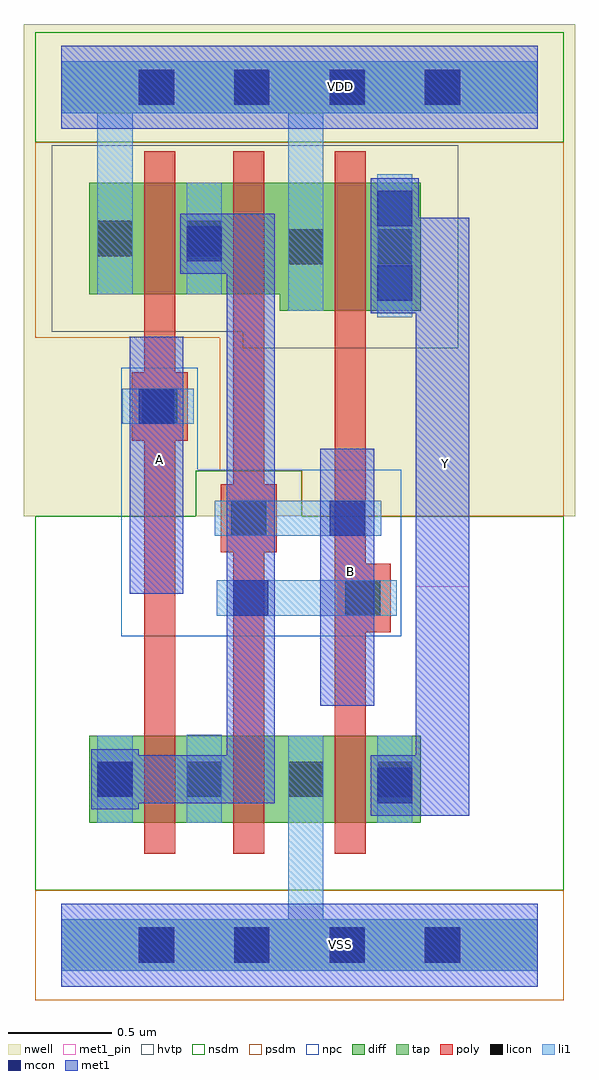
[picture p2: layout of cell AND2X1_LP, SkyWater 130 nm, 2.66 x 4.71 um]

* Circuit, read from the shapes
.subckt AND2X1_LP A B VDD VSS Y
XM1 n1 A n2 VSS sky130_fd_pr__nfet_01v8 w=0.42 l=0.15
XM2 VSS B n1 VSS sky130_fd_pr__nfet_01v8 w=0.42 l=0.15
XM3 Y n2 VSS VSS sky130_fd_pr__nfet_01v8 w=0.42 l=0.15
XM4 n2 A VDD VDD sky130_fd_pr__pfet_01v8_hvt w=0.54 l=0.15
XM5 VDD B n2 VDD sky130_fd_pr__pfet_01v8_hvt w=0.54 l=0.15
XM6 Y n2 VDD VDD sky130_fd_pr__pfet_01v8_hvt w=0.62 l=0.15
.ends

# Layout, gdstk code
from math import pi, radians
import gdstk
lib = gdstk.Library(unit=1e-6, precision=1e-09)
def R(c, l, rs):  # rectangles x0, y0, x1, y1
    for r in rs: c.add(gdstk.rectangle(r[:2], r[2:], *l))
def A(c, l, x, y, w, h, nx, ny, dx, dy):  # array of equal rectangles
    R(c, l, [(x+i*dx, y+j*dy, x+i*dx+w, y+j*dy+h) for i in range(nx) for j in range(ny)])
def P(c, l, *ps):  # polygons
    for p in ps: c.add(gdstk.Polygon(p, *l))
nwell = (64, 20)
diff = (65, 20)
tap = (65, 44)
poly = (66, 20)
licon = (66, 44)
li1 = (67, 20)
mcon = (67, 44)
met1_pin = (68, 16)
met1 = (68, 20)
hvtp = (78, 44)
nsdm = (93, 44)
psdm = (94, 20)
npc = (95, 20)

l1m1_c_cdns_750721840975 = lib.new_cell('L1M1_C_CDNS_750721840975')
R(l1m1_c_cdns_750721840975, li1, [(-0.085,-0.345,0.085,0.345)])
R(l1m1_c_cdns_750721840975, mcon, [(-0.085,-0.265,0.085,-0.095), (-0.085,0.095,0.085,0.265)])
R(l1m1_c_cdns_750721840975, met1, [(-0.115,-0.325,0.115,0.325)])

pyl1con_c_cdns_750721840 = lib.new_cell('PYL1CON_C_CDNS_750721840972')
R(pyl1con_c_cdns_750721840, poly, [(-0.135,-0.165,0.135,0.165)])
R(pyl1con_c_cdns_750721840, licon, [(-0.085,-0.085,0.085,0.085)])
R(pyl1con_c_cdns_750721840, npc, [(-0.185,-0.185,0.185,0.185)])

lilicon_c_cdns_750721840 = lib.new_cell('LILICON_C_CDNS_750721840978')
R(lilicon_c_cdns_750721840, licon, [(-0.085,-0.085,0.085,0.085), (-0.085,-0.085,0.085,0.085)])
R(lilicon_c_cdns_750721840, li1, [(-0.085,-0.165,0.085,0.165)])

l1m1_c_cdns_750721840973 = lib.new_cell('L1M1_C_CDNS_750721840973')
R(l1m1_c_cdns_750721840973, li1, [(-0.165,-0.085,0.165,0.085)])
R(l1m1_c_cdns_750721840973, mcon, [(-0.085,-0.085,0.085,0.085)])
R(l1m1_c_cdns_750721840973, met1, [(-0.115,-0.145,0.115,0.145)])

l1m1_c_cdns_750721840971 = lib.new_cell('L1M1_C_CDNS_750721840971')
R(l1m1_c_cdns_750721840971, li1, [(-0.085,-0.165,0.085,0.165)])
R(l1m1_c_cdns_750721840971, mcon, [(-0.085,-0.085,0.085,0.085)])
R(l1m1_c_cdns_750721840971, met1, [(-0.115,-0.145,0.115,0.145)])

licondiff_c_cdns_7507218 = lib.new_cell('LICONDIFF_C_CDNS_750721840974')
R(licondiff_c_cdns_7507218, diff, [(-0.125,-0.145,0.125,0.145)])
R(licondiff_c_cdns_7507218, licon, [(-0.085,-0.085,0.085,0.085), (-0.085,-0.085,0.085,0.085)])

and2x1_lp = lib.new_cell('AND2X1_LP')
R(and2x1_lp, nwell, [(-0.18,2.07,2.48,3.995), (0.875,2.88,1.915,3.86), (-0.045,2.96,0.995,3.86), (0.595,2.96,1.425,3.86), (-0.18,3.875,2.48,4.445)])
R(and2x1_lp, diff, [(0.135,0.59,0.4,1.01), (0.4,0.59,0.55,1.01), (0.55,0.59,0.775,1.01), (0.565,0.59,0.83,1.01), (0.83,0.59,0.98,1.01), (0.98,0.59,1.245,1.01), (1.055,0.59,1.32,1.01), (1.32,0.59,1.47,1.01), (1.47,0.59,1.735,1.01), (1.055,3.06,1.32,3.68), (1.32,3.06,1.47,3.68), (1.47,3.06,1.735,3.68), (0.135,3.14,0.4,3.68), (0.4,3.14,0.55,3.68), (0.55,3.14,0.815,3.68), (0.775,3.14,0.83,3.68), (0.83,3.14,0.98,3.68), (0.98,3.14,1.245,3.68)])
R(and2x1_lp, poly, [(0.4,0.44,0.55,0.495), (0.83,0.44,0.98,0.495), (1.32,0.44,1.47,0.495), (0.4,0.495,0.55,0.59), (0.83,0.495,0.98,0.59), (1.32,0.495,1.47,0.59), (0.4,0.59,0.55,1.01), (0.83,0.59,0.98,1.01), (1.32,0.59,1.47,1.01), (0.4,1.01,0.55,1.105), (0.83,1.01,0.98,1.105), (1.32,1.01,1.47,1.105), (0.4,1.105,0.55,1.16), (0.83,1.105,0.98,1.16), (1.32,1.105,1.47,1.16), (1.32,2.91,1.47,2.965), (1.32,2.965,1.47,3.06), (0.4,2.99,0.55,3.045), (0.83,2.99,0.98,3.045), (0.4,3.045,0.55,3.14), (0.83,3.045,0.98,3.14), (1.32,3.06,1.47,3.68), (0.4,3.14,0.55,3.68), (0.83,3.14,0.98,3.68), (0.4,3.68,0.55,3.775), (0.83,3.68,0.98,3.775), (1.32,3.68,1.47,3.775), (0.4,3.775,0.55,3.83), (0.83,3.775,0.98,3.83), (1.32,3.775,1.47,3.83)])
A(and2x1_lp, licon, 0.375, -0.085, 0.17, 0.17, 4, 2, 0.46, 4.14)
R(and2x1_lp, licon, [(0.175,0.715,0.345,0.885), (0.605,0.715,0.775,0.885), (1.095,0.715,1.265,0.885), (1.525,0.715,1.695,0.885), (1.095,3.285,1.265,3.455), (1.525,3.285,1.695,3.455), (0.175,3.325,0.345,3.495), (0.605,3.325,0.775,3.495)])
R(and2x1_lp, li1, [(0.175,0.59,0.345,1.01), (0.605,0.59,0.775,1.01), (1.095,0.59,1.265,1.01), (1.525,0.59,1.695,1.01), (1.095,3.06,1.265,3.68), (1.525,3.06,1.695,3.68), (0.175,3.14,0.345,3.68), (0.605,3.14,0.775,3.68)])
A(and2x1_lp, mcon, 0.375, -0.085, 0.17, 0.17, 4, 2, 0.46, 4.14)
R(and2x1_lp, met1_pin, [(1.25,1.155,1.51,2.395), (0.33,1.695,0.59,2.935), (1.71,1.73,1.97,3.51)])
R(and2x1_lp, hvtp, [(0.875,2.88,1.915,3.86), (-0.045,2.96,0.995,3.86), (0.595,2.96,1.425,3.86)])
R(and2x1_lp, nsdm, [(-0.005,0.46,0.785,1.14), (0.425,0.46,1.385,1.14), (0.915,0.46,1.875,1.14), (-0.125,3.875,2.425,4.405), (-0.125,3.93,2.425,4.35)])
P(and2x1_lp, nsdm, [(2.425,2.07),(1.16,2.07),(1.16,2.29),(0.65,2.29),(0.65,2.07),(-0.125,2.07),(-0.125,0.265),(2.425,0.265)])
R(and2x1_lp, psdm, [(-0.125,-0.265,2.425,0.265), (-0.125,-0.21,2.425,0.21), (0.915,2.93,1.875,3.81), (-0.005,3.01,0.955,3.81), (0.765,3.01,1.385,3.81)])
P(and2x1_lp, psdm, [(2.425,3.875),(-0.125,3.875),(-0.125,2.93),(0.765,2.93),(0.765,2.29),(1.16,2.29),(1.16,2.07),(2.425,2.07)])
P(and2x1_lp, npc, [(1.64,2.295),(0.66,2.295),(0.66,2.785),(0.29,2.785),(0.29,1.49),(1.64,1.49)])
and2x1_lp.add(gdstk.FlexPath([(0.475,2.99),(0.475,1.16)], 0.15, ends="flush", simple_path=True, layer=66, datatype=20))  # poly
and2x1_lp.add(gdstk.FlexPath([(0.905,2.99),(0.905,1.16)], 0.15, ends="flush", simple_path=True, layer=66, datatype=20))  # poly
and2x1_lp.add(gdstk.FlexPath([(1.395,1.16),(1.395,2.91)], 0.15, ends="flush", simple_path=True, layer=66, datatype=20))  # poly
and2x1_lp.add(gdstk.FlexPath([(0.295,2.6),(0.64,2.6)], 0.17, ends="flush", simple_path=True, layer=67, datatype=20))  # li1
and2x1_lp.add(gdstk.FlexPath([(0.26,3.55),(0.26,4.14)], 0.17, ends=(0, 0.125), simple_path=True, layer=67, datatype=20))  # li1
and2x1_lp.add(gdstk.FlexPath([(1.38,2.06),(0.96,2.06)], 0.17, ends="flush", simple_path=True, layer=67, datatype=20))  # li1
and2x1_lp.add(gdstk.FlexPath([(1.18,4.14),(2.3,4.14)], 0.25, ends=(0.085, 0), simple_path=True, layer=67, datatype=20))  # li1
and2x1_lp.add(gdstk.FlexPath([(1.18,0.59),(1.18,0)], 0.17, ends=(0, 0.125), simple_path=True, layer=67, datatype=20))  # li1
and2x1_lp.add(gdstk.FlexPath([(1.18,0),(2.3,0)], 0.25, ends=(0.085, 0), simple_path=True, layer=67, datatype=20))  # li1
and2x1_lp.add(gdstk.FlexPath([(0.915,1.675),(1.455,1.675)], 0.17, ends="flush", simple_path=True, layer=67, datatype=20))  # li1
and2x1_lp.add(gdstk.FlexPath([(0.74,2.06),(0.99,2.06)], 0.17, ends="flush", simple_path=True, layer=67, datatype=20))  # li1
and2x1_lp.add(gdstk.FlexPath([(0.69,0.59),(0.69,1.015)], 0.17, ends="flush", simple_path=True, layer=67, datatype=20))  # li1
and2x1_lp.add(gdstk.FlexPath([(0.26,4.14),(1.18,4.14)], 0.25, ends=(0.085, 0.085), simple_path=True, layer=67, datatype=20))  # li1
and2x1_lp.add(gdstk.FlexPath([(1.18,3.55),(1.18,4.14)], 0.17, ends=(0, 0.125), simple_path=True, layer=67, datatype=20))  # li1
and2x1_lp.add(gdstk.FlexPath([(0,4.14),(0.26,4.14)], 0.25, ends=(0, 0.085), simple_path=True, layer=67, datatype=20))  # li1
and2x1_lp.add(gdstk.FlexPath([(0,0),(1.18,0)], 0.25, ends=(0, 0.085), simple_path=True, layer=67, datatype=20))  # li1
and2x1_lp.add(gdstk.FlexPath([(0,4.14),(2.3,4.14)], 0.4, ends="flush", simple_path=True, layer=68, datatype=16))  # met1_pin
and2x1_lp.add(gdstk.FlexPath([(0,0),(2.3,0)], 0.4, ends="flush", simple_path=True, layer=68, datatype=16))  # met1_pin
and2x1_lp.add(gdstk.FlexPath([(0,0),(2.3,0)], 0.25, ends="flush", simple_path=True, layer=65, datatype=44))  # tap
and2x1_lp.add(gdstk.FlexPath([(0,4.14),(2.3,4.14)], 0.25, ends="flush", simple_path=True, layer=65, datatype=44))  # tap
and2x1_lp.add(gdstk.FlexPath([(0.915,3.345),(0.915,1.705)], 0.23, ends="extended", simple_path=True, layer=68, datatype=20))  # met1
and2x1_lp.add(gdstk.FlexPath([(0,0),(2.3,0)], 0.4, ends="flush", simple_path=True, layer=68, datatype=20))  # met1
and2x1_lp.add(gdstk.FlexPath([(1.84,3.38),(1.495,3.38)], 0.26, ends=(0.13, 0), simple_path=True, layer=68, datatype=20))  # met1
and2x1_lp.add(gdstk.FlexPath([(0.915,0.8),(0.26,0.8)], 0.23, ends=(0.115, 0), simple_path=True, layer=68, datatype=20))  # met1
and2x1_lp.add(gdstk.FlexPath([(0,4.14),(2.3,4.14)], 0.4, ends="flush", simple_path=True, layer=68, datatype=20))  # met1
and2x1_lp.add(gdstk.FlexPath([(1.38,2.395),(1.38,1.155)], 0.26, ends="flush", simple_path=True, layer=68, datatype=20))  # met1
and2x1_lp.add(gdstk.FlexPath([(1.695,0.755),(1.84,0.755)], 0.26, ends=(0, 0.13), simple_path=True, layer=68, datatype=20))  # met1
and2x1_lp.add(gdstk.FlexPath([(0.69,3.415),(0.915,3.415)], 0.23, ends="extended", simple_path=True, layer=68, datatype=20))  # met1
and2x1_lp.add(gdstk.FlexPath([(0.46,2.935),(0.46,1.695)], 0.26, ends="flush", simple_path=True, layer=68, datatype=20))  # met1
and2x1_lp.add(gdstk.FlexPath([(0.69,3.385),(0.725,3.385)], 0.29, ends=(0, 0.115), simple_path=True, layer=68, datatype=20))  # met1
and2x1_lp.add(gdstk.FlexPath([(1.84,0.755),(1.84,3.38)], 0.26, ends="extended", simple_path=True, layer=68, datatype=20))  # met1
and2x1_lp.add(gdstk.FlexPath([(0.725,3.385),(0.725,3.305)], 0.23, ends=(0.145, 0), simple_path=True, layer=68, datatype=20))  # met1
and2x1_lp.add(gdstk.FlexPath([(0.915,1.675),(0.915,0.8)], 0.23, ends=(0, 0.115), simple_path=True, layer=68, datatype=20))  # met1
and2x1_lp.add(gdstk.Reference(l1m1_c_cdns_750721840975, (1.61,3.375)))
and2x1_lp.add(gdstk.Reference(pyl1con_c_cdns_750721840, (1.455,1.675)))
and2x1_lp.add(gdstk.Reference(pyl1con_c_cdns_750721840, (0.905,2.06), rotation=pi, x_reflection=True))
and2x1_lp.add(gdstk.Reference(pyl1con_c_cdns_750721840, (0.475,2.6), rotation=pi, x_reflection=True))
and2x1_lp.add(gdstk.Reference(lilicon_c_cdns_750721840, (1.455,1.675), rotation=pi/2))
and2x1_lp.add(gdstk.Reference(l1m1_c_cdns_750721840973, (0.915,1.675), rotation=pi, x_reflection=True))
and2x1_lp.add(gdstk.Reference(l1m1_c_cdns_750721840973, (0.46,2.6)))
and2x1_lp.add(gdstk.Reference(l1m1_c_cdns_750721840973, (1.38,2.06)))
and2x1_lp.add(gdstk.Reference(l1m1_c_cdns_750721840971, (1.61,0.77)))
and2x1_lp.add(gdstk.Reference(l1m1_c_cdns_750721840971, (0.26,0.8)))
and2x1_lp.add(gdstk.Reference(l1m1_c_cdns_750721840971, (0.69,3.385)))
and2x1_lp.add(gdstk.Reference(licondiff_c_cdns_7507218, (0.69,0.8)))
and2x1_lp.add(gdstk.Label('VSS', (1.35,0.005), layer=68, texttype=5))
and2x1_lp.add(gdstk.Label('B', (1.395,1.805), layer=68, texttype=5))
and2x1_lp.add(gdstk.Label('VDD', (1.35,4.145), layer=68, texttype=5))
and2x1_lp.add(gdstk.Label('Y', (1.855,2.325), layer=68, texttype=5))
and2x1_lp.add(gdstk.Label('A', (0.475,2.345), layer=68, texttype=5))

lib.write_gds('AND2X1_LP.gds')
